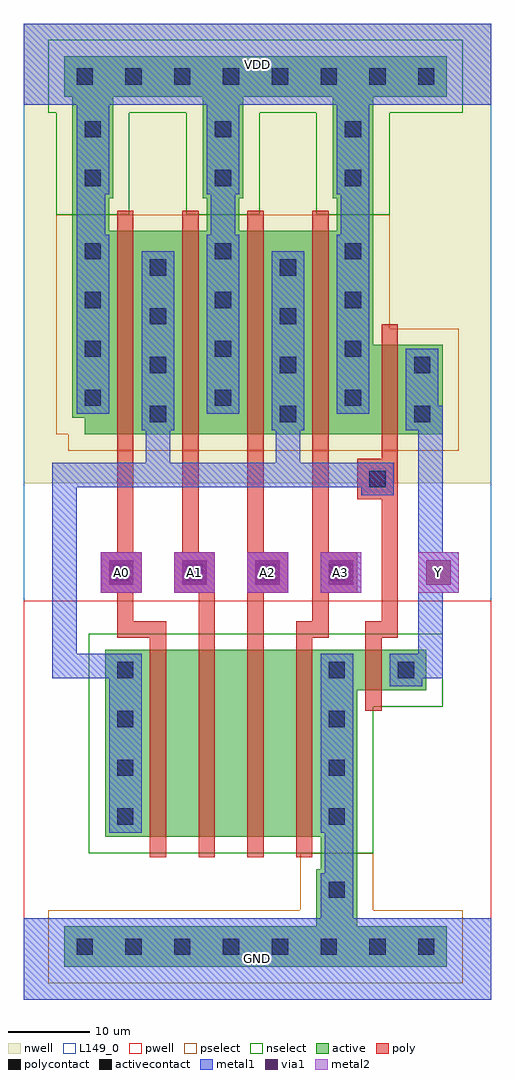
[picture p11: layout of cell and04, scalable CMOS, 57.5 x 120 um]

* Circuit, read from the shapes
.subckt and04 A0 A1 A2 A3 GND VDD Y
M1 n1 A0 n2 GND nfet w=23u l=2u
M2 n3 A1 n1 GND nfet w=23u l=2u
M3 n4 A2 n3 GND nfet w=23u l=2u
M4 GND A3 n4 GND nfet w=23u l=2u
M5 Y n2 GND GND nfet w=5u l=2u
M6 n2 A0 VDD VDD pfet w=25u l=2u
M7 VDD A1 n2 VDD pfet w=25u l=2u
M8 n2 A2 VDD VDD pfet w=25u l=2u
M9 VDD A3 n2 VDD pfet w=25u l=2u
M10 Y n2 VDD VDD pfet w=11u l=2u
.ends

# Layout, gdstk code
import gdstk
lib = gdstk.Library(unit=1e-6, precision=1e-09)
def R(c, l, rs):  # rectangles x0, y0, x1, y1
    for r in rs: c.add(gdstk.rectangle(r[:2], r[2:], *l))
def A(c, l, x, y, w, h, nx, ny, dx, dy):  # array of equal rectangles
    R(c, l, [(x+i*dx, y+j*dy, x+i*dx+w, y+j*dy+h) for i in range(nx) for j in range(ny)])
def P(c, l, *ps):  # polygons
    for p in ps: c.add(gdstk.Polygon(p, *l))
pwell = (41, 0)
nwell = (42, 0)
active = (43, 0)
pselect = (44, 0)
nselect = (45, 0)
poly = (46, 0)
polycontact = (47, 0)
activecontact = (48, 0)
metal1 = (49, 0)
via1 = (50, 0)
metal2 = (51, 0)
L149_0 = (149, 0)

via = lib.new_cell('via')
R(via, metal1, [(-2.5,-2.5,2.5,2.5)])
R(via, via1, [(-1.5,-1.5,1.5,1.5)])
R(via, metal2, [(-2.5,-2.5,2.5,2.5)])

and04 = lib.new_cell('and04')
R(and04, pwell, [(0,0,57.5,49)])
P(and04, pwell, [(4,14),(4,49),(55.5,49),(55.5,32),(47,32),(47,14)])
R(and04, nwell, [(0,63.5,57.5,120)])
P(and04, nwell, [(57.5,63.5),(57.5,86.5),(49,86.5),(49,100.5),(0,100.5),(0,65.5),(1.5,65.5),(1.5,63.5)])
A(and04, active, 6, 98.5, 5, 12.5, 3, 1, 16, 0)
R(and04, active, [(5,4,52,9), (36,9,41,16), (36.5,16,41,20), (10,20,15.5,43), (44,38,49.5,43), (46,69.5,51.5,80.5), (6,94.5,10.5,98.5), (22.5,94.5,26.5,98.5), (38.5,94.5,43,98.5), (5,111,52,116)])
P(and04, active, [(51.5,69.5),(51.5,80.5),(43,80.5),(43,94.5),(6,94.5),(6,71.5),(7.5,71.5),(7.5,69.5)],
  [(11.5,69.5),(11.5,94.5),(6,94.5),(6,71.5),(7.5,71.5),(7.5,69.5)],
  [(10,20),(10,43),(49.5,43),(49.5,38),(41,38),(41,20)])
R(and04, pselect, [(3,2,54,11), (34,11,43,18)])
P(and04, pselect, [(53.5,67.5),(53.5,82.5),(45,82.5),(45,96.5),(4,96.5),(4,69.5),(5.5,69.5),(5.5,67.5)])
A(and04, nselect, 4, 96.5, 9, 12.5, 3, 1, 16, 0)
R(and04, nselect, [(3,109,54,118)])
P(and04, nselect, [(8,18),(8,45),(51.5,45),(51.5,36),(43,36),(43,18)])
A(and04, poly, 15.5, 17.5, 2, 2.5, 4, 2, 6, 25.5)
A(and04, poly, 15.5, 20, 2, 23, 4, 1, 6, 0)
A(and04, poly, 9.5, 50, 5, 5, 3, 1, 9, 0)
A(and04, poly, 11.5, 67, 2, 2.5, 4, 2, 8, 27.5)
A(and04, poly, 11.5, 69.5, 2, 25, 4, 1, 8, 0)
R(and04, poly, [(42,35.5,44,38), (42,38,44,43), (42,43,44,45.5), (36,50,41,55), (41,61.5,46,66.5), (44,67,46,69.5), (44,69.5,46,80.5), (44,80.5,46,83)])
A(and04, polycontact, 11, 51.5, 2, 2, 3, 1, 9, 0)
R(and04, polycontact, [(37.5,51.5,39.5,53.5), (42.5,63,44.5,65)])
A(and04, activecontact, 6.5, 5.5, 2, 2, 8, 2, 6, 107)
A(and04, activecontact, 11.5, 21.5, 2, 2, 1, 4, 0, 6)
A(and04, activecontact, 37.5, 21.5, 2, 2, 1, 4, 0, 6)
A(and04, activecontact, 15.5, 71, 2, 2, 1, 4, 0, 6)
A(and04, activecontact, 31.5, 71, 2, 2, 1, 4, 0, 6)
A(and04, activecontact, 7.5, 73, 2, 2, 3, 4, 16, 6)
A(and04, activecontact, 7.5, 100, 2, 2, 3, 2, 16, 6)
R(and04, activecontact, [(37.5,12.5,39.5,14.5), (46,39.5,48,41.5), (48,71,50,73), (48,77,50,79)])
A(and04, metal1, 10, 50.5, 4, 4, 3, 1, 9, 0)
A(and04, metal1, 6.5, 72, 4, 22, 3, 1, 16, 0)
A(and04, metal1, 6.5, 99, 4, 11, 3, 1, 16, 0)
R(and04, metal1, [(0,0,57.5,10), (0,0,57.5,10), (36.5,10,40.5,15.5), (37,15.5,40.5,20.5), (10.5,20.5,14.5,42.5), (36.5,20.5,40.5,42.5), (45,38.5,49,42.5), (36.5,50.5,40.5,54.5), (41.5,62,45.5,66), (14.5,70,18.5,92), (30.5,70,34.5,92), (47,70,51,80), (6.5,94,10,99), (23,94,26,99), (39,94,42.5,99), (0,110,57.5,120), (0,110,57.5,120)])
A(and04, metal2, 9.5, 50, 5, 5, 4, 1, 9, 0)
R(and04, metal2, [(48.5,50,53.5,55)])
R(and04, L149_0, [(0,0,57.5,120)])
and04.add(gdstk.FlexPath([(34,64.5),(41.5,64.5)], 3, ends="flush", simple_path=True, layer=49, datatype=0))  # metal1
and04.add(gdstk.FlexPath([(18,64.5),(32.5,64.5),(32.5,70)], 3, ends="flush", simple_path=True, layer=49, datatype=0))  # metal1
and04.add(gdstk.FlexPath([(50,73),(50,39.5)], 3, ends="flush", simple_path=True, layer=49, datatype=0))  # metal1
and04.add(gdstk.FlexPath([(16.5,70),(16.5,64.5),(5,64.5),(5,41),(10.5,41)], 3, ends="flush", simple_path=True, layer=49, datatype=0))  # metal1
and04.add(gdstk.FlexPath([(22.5,45.5),(22.5,51),(20.5,51),(20.5,67)], 2, ends="flush", simple_path=True, layer=46, datatype=0))  # poly
and04.add(gdstk.FlexPath([(36.5,67),(36.5,45.5),(33.5,45.5)], 2, ends="flush", simple_path=True, layer=46, datatype=0))  # poly
and04.add(gdstk.FlexPath([(28.5,45.5),(28.5,67)], 2, ends="flush", simple_path=True, layer=46, datatype=0))  # poly
and04.add(gdstk.FlexPath([(17.5,45.5),(12.5,45.5),(12.5,67)], 2, ends="flush", simple_path=True, layer=46, datatype=0))  # poly
and04.add(gdstk.FlexPath([(45,67),(45,45.5),(42,45.5)], 2, ends="flush", simple_path=True, layer=46, datatype=0))  # poly
and04.add(gdstk.Reference(via, (21,52.5)))
and04.add(gdstk.Reference(via, (51,52.5)))
and04.add(gdstk.Reference(via, (12,52.5)))
and04.add(gdstk.Reference(via, (30,52.5)))
and04.add(gdstk.Reference(via, (39,52.5)))
and04.add(gdstk.Label('GND', (28.75,5), layer=2, texttype=0))
and04.add(gdstk.Label('VDD', (28.75,115), layer=2, texttype=0))
and04.add(gdstk.Label('Y', (51,52.5), layer=3, texttype=0))
and04.add(gdstk.Label('A0', (12,52.5), layer=3, texttype=0))
and04.add(gdstk.Label('A2', (30,52.5), layer=3, texttype=0))
and04.add(gdstk.Label('A3', (39,52.5), layer=3, texttype=0))
and04.add(gdstk.Label('A1', (21,52.5), layer=3, texttype=0))
and04.add(gdstk.Label('VDD', (28.75,115), layer=2, texttype=0))
and04.add(gdstk.Label('Y', (51,52.5), layer=3, texttype=0))
and04.add(gdstk.Label('A0', (12,52.5), layer=3, texttype=0))
and04.add(gdstk.Label('A2', (30,52.5), layer=3, texttype=0))
and04.add(gdstk.Label('A3', (39,52.5), layer=3, texttype=0))
and04.add(gdstk.Label('A1', (21,52.5), layer=3, texttype=0))
and04.add(gdstk.Label('GND', (28.75,5), layer=2, texttype=0))

lib.write_gds('and04.gds')
